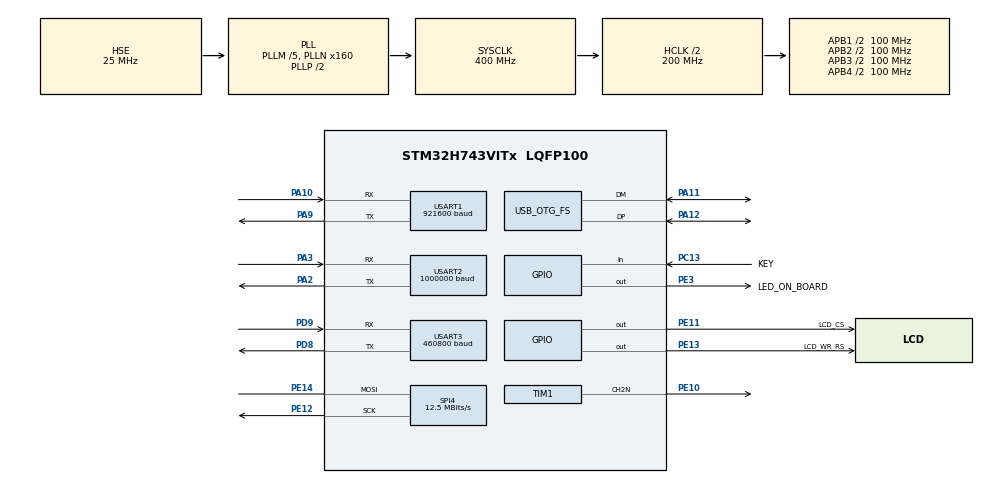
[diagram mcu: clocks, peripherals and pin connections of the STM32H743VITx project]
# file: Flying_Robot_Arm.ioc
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Dma.Request0=USART2_RX
Dma.Request1=USART2_TX
Dma.USART2_RX.0.Direction=DMA_PERIPH_TO_MEMORY
Dma.USART2_RX.0.EventEnable=DISABLE
Dma.USART2_RX.0.FIFOMode=DMA_FIFOMODE_DISABLE
Dma.USART2_RX.0.Instance=DMA1_Stream0
Dma.USART2_RX.0.MemDataAlignment=DMA_MDATAALIGN_BYTE
Dma.USART2_RX.0.MemInc=DMA_MINC_ENABLE
Dma.USART2_RX.0.Mode=DMA_NORMAL
Dma.USART2_RX.0.PeriphDataAlignment=DMA_PDATAALIGN_BYTE
Dma.USART2_RX.0.PeriphInc=DMA_PINC_DISABLE
Dma.USART2_RX.0.Polarity=HAL_DMAMUX_REQ_GEN_RISING
Dma.USART2_RX.0.Priority=DMA_PRIORITY_HIGH
Dma.USART2_RX.0.RequestNumber=1
Dma.USART2_RX.0.SignalID=NONE
Dma.USART2_RX.0.SyncEnable=DISABLE
Dma.USART2_RX.0.SyncPolarity=HAL_DMAMUX_SYNC_NO_EVENT
Dma.USART2_RX.0.SyncRequestNumber=1
Dma.USART2_RX.0.SyncSignalID=NONE
Dma.USART2_TX.1.Direction=DMA_MEMORY_TO_PERIPH
Dma.USART2_TX.1.EventEnable=DISABLE
Dma.USART2_TX.1.FIFOMode=DMA_FIFOMODE_DISABLE
Dma.USART2_TX.1.Instance=DMA1_Stream1
Dma.USART2_TX.1.MemDataAlignment=DMA_MDATAALIGN_BYTE
Dma.USART2_TX.1.MemInc=DMA_MINC_ENABLE
Dma.USART2_TX.1.Mode=DMA_NORMAL
Dma.USART2_TX.1.PeriphDataAlignment=DMA_PDATAALIGN_BYTE
Dma.USART2_TX.1.PeriphInc=DMA_PINC_DISABLE
Dma.USART2_TX.1.Polarity=HAL_DMAMUX_REQ_GEN_RISING
Dma.USART2_TX.1.Priority=DMA_PRIORITY_HIGH
Dma.USART2_TX.1.RequestNumber=1
Dma.USART2_TX.1.SignalID=NONE
Dma.USART2_TX.1.SyncEnable=DISABLE
Dma.USART2_TX.1.SyncPolarity=HAL_DMAMUX_SYNC_NO_EVENT
Dma.USART2_TX.1.SyncRequestNumber=1
Dma.USART2_TX.1.SyncSignalID=NONE
FREERTOS.Tasks01=defaultTask,0,256,StartDefaultTask,Default,NULL,Dynamic,NULL,NULL;screen_task,-2,512,lcd_show_task,As external,NULL,Dynamic,NULL,NULL;servo_task,1,256,servo_ctrl_task,As external,NULL,Dynamic,NULL,NULL
FREERTOS.configUSE_TRACE_FACILITY=1
Mcu.Family=STM32H7
Mcu.Name=STM32H743VITx
Mcu.Package=LQFP100
NVIC.DMA1_Stream0_IRQn=true\:5\:0\:false\:false\:true\:true\:false\:true
NVIC.DMA1_Stream1_IRQn=true\:5\:0\:false\:false\:true\:true\:false\:true
NVIC.OTG_FS_IRQn=true\:5\:0\:false\:false\:true\:true\:false\:true
NVIC.PriorityGroup=NVIC_PRIORITYGROUP_4
NVIC.TIM2_IRQn=true\:15\:0\:false\:false\:true\:false\:false\:true
NVIC.TimeBase=TIM2_IRQn
NVIC.TimeBaseIP=TIM2
NVIC.USART1_IRQn=true\:5\:0\:false\:false\:false\:true\:true\:false
NVIC.USART2_IRQn=true\:5\:0\:false\:false\:false\:true\:true\:false
NVIC.USART3_IRQn=true\:5\:0\:false\:false\:false\:true\:true\:false
PA10.Mode=Asynchronous
PA10.Signal=USART1_RX
PA11.Mode=Device_Only
PA11.Signal=USB_OTG_FS_DM
PA12.Mode=Device_Only
PA12.Signal=USB_OTG_FS_DP
PA13\ (JTMS/SWDIO).Mode=Serial_Wire
PA13\ (JTMS/SWDIO).Signal=DEBUG_JTMS-SWDIO
PA14\ (JTCK/SWCLK).Mode=Serial_Wire
PA14\ (JTCK/SWCLK).Signal=DEBUG_JTCK-SWCLK
PA2.Mode=Asynchronous
PA2.Signal=USART2_TX
PA3.Mode=Asynchronous
PA3.Signal=USART2_RX
PA9.Mode=Asynchronous
PA9.Signal=USART1_TX
PC13.GPIO_Label=KEY
PC13.GPIO_PuPd=GPIO_PULLDOWN
PC13.Signal=GPIO_Input
PD8.Mode=Asynchronous
PD8.Signal=USART3_TX
PD9.Mode=Asynchronous
PD9.Signal=USART3_RX
PE10.GPIO_PuPd=GPIO_NOPULL
PE10.Mode=PWM Generation2 CH2N
PE10.Signal=TIM1_CH2N
PE11.GPIO_Label=LCD_CS
PE11.GPIO_Speed=GPIO_SPEED_FREQ_HIGH
PE11.PinState=GPIO_PIN_SET
PE11.Signal=GPIO_Output
PE12.Mode=Simplex_Bidirectional_Master
PE12.Signal=SPI4_SCK
PE13.GPIO_Label=LCD_WR_RS
PE13.GPIO_Speed=GPIO_SPEED_FREQ_HIGH
PE13.PinState=GPIO_PIN_SET
PE13.Signal=GPIO_Output
PE14.Mode=Simplex_Bidirectional_Master
PE14.Signal=SPI4_MOSI
PE3.GPIO_Label=LED_ON_BOARD
PE3.Signal=GPIO_Output
PH0-OSC_IN\ (PH0).Mode=HSE-External-Oscillator
PH0-OSC_IN\ (PH0).Signal=RCC_OSC_IN
PH1-OSC_OUT\ (PH1).Mode=HSE-External-Oscillator
PH1-OSC_OUT\ (PH1).Signal=RCC_OSC_OUT
ProjectManager.HeapSize=0x600
ProjectManager.StackSize=0x800
ProjectManager.TargetToolchain=MDK-ARM V5.27
RCC.ADCFreq_Value=400000000
RCC.APB1Freq_Value=100000000
RCC.APB2Freq_Value=100000000
RCC.APB3Freq_Value=100000000
RCC.APB4Freq_Value=100000000
RCC.CortexFreq_Value=400000000
RCC.D1PPRE=RCC_APB3_DIV2
RCC.D2PPRE1=RCC_APB1_DIV2
RCC.D2PPRE2=RCC_APB2_DIV2
RCC.D3PPRE=RCC_APB4_DIV2
RCC.DIVM1=5
RCC.DIVM2=5
RCC.DIVM3=5
RCC.DIVN1=160
RCC.DIVN2=160
RCC.DIVN3=48
RCC.DIVQ3=5
RCC.HCLKFreq_Value=200000000
RCC.HPRE=RCC_HCLK_DIV2
RCC.PLLSourceVirtual=RCC_PLLSOURCE_HSE
RCC.SYSCLKFreq_VALUE=400000000
RCC.SYSCLKSource=RCC_SYSCLKSOURCE_PLLCLK
RCC.USBCLockSelection=RCC_USBCLKSOURCE_PLL3
RCC.USBFreq_Value=48000000
SPI4.BaudRatePrescaler=SPI_BAUDRATEPRESCALER_8
SPI4.CalculateBaudRate=12.5 MBits/s
SPI4.DataSize=SPI_DATASIZE_8BIT
SPI4.Direction=SPI_DIRECTION_1LINE
SPI4.Mode=SPI_MODE_MASTER
SPI4.VirtualType=VM_MASTER
TIM1.AutoReloadPreload=TIM_AUTORELOAD_PRELOAD_ENABLE
TIM1.Channel-PWM\ Generation2\ CH2N=TIM_CHANNEL_2
TIM1.OCNPolarity_2=TIM_OCNPOLARITY_HIGH
TIM1.Period=1000-1
TIM1.Prescaler=20-1
USART1.BaudRate=921600
USART1.VirtualMode-Asynchronous=VM_ASYNC
USART2.BaudRate=1000000
USART2.VirtualMode-Asynchronous=VM_ASYNC
USART3.BaudRate=460800
USART3.VirtualMode-Asynchronous=VM_ASYNC
USB_DEVICE.CLASS_NAME_FS=CDC
USB_DEVICE.VirtualMode-CDC_FS=Cdc
USB_DEVICE.VirtualModeFS=Cdc_FS
USB_OTG_FS.VirtualMode=Device_Only
VP_FREERTOS_VS_CMSIS_V1.Mode=CMSIS_V1
VP_SYS_VS_tim2.Mode=TIM2
VP_USB_DEVICE_VS_USB_DEVICE_CDC_FS.Mode=CDC_FS
board=custom

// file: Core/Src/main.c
/* USER CODE BEGIN Header */
/**
  ******************************************************************************
  * @file           : main.c
  * @brief          : Main program body
  ******************************************************************************
  * @attention
  *
  * <h2><center>&copy; Copyright (c) 2021 STMicroelectronics.
  * All rights reserved.</center></h2>
  *
  * This software component is licensed by ST under Ultimate Liberty license
  * SLA0044, the "License"; You may not use this file except in compliance with
  * the License. You may obtain a copy of the License at:
  *                             www.st.com/SLA0044
  *
  ******************************************************************************
  */
/* USER CODE END Header */
#include "main.h"
#include "cmsis_os.h"
#include "dma.h"
#include "spi.h"
#include "tim.h"
#include "usart.h"
#include "usb_device.h"
#include "gpio.h"

/* USER CODE BEGIN Includes */
#include "servo_uart.h"
/* USER CODE END Includes */

void SystemClock_Config(void);
void MX_FREERTOS_Init(void);

int main(void)
{

  /* MCU Configuration--------------------------------------------------------*/

  /* Reset of all peripherals, Initializes the Flash interface and the Systick. */
  HAL_Init();

  /* Configure the system clock */
  SystemClock_Config();

  /* Initialize all configured peripherals */
  MX_GPIO_Init();
  MX_TIM1_Init();
  MX_SPI4_Init();
  MX_DMA_Init();
  MX_USART2_UART_Init();
  MX_USART1_UART_Init();
  MX_USART3_UART_Init();
  /* USER CODE BEGIN 2 */
  HAL_TIM_PWM_Start(&htim1, TIM_CHANNEL_2);
  __HAL_TIM_SetCompare(&htim1, TIM_CHANNEL_2, 0);
  servo_receive_init();
  /* USER CODE END 2 */

  /* Call init function for freertos objects (in freertos.c) */
  MX_FREERTOS_Init();
  /* Start scheduler */
  osKernelStart();

  /* We should never get here as control is now taken by the scheduler */
  /* Infinite loop */
  while (1)
  {

  }
}

void SystemClock_Config(void)
{
  RCC_OscInitTypeDef RCC_OscInitStruct = {0};
  RCC_ClkInitTypeDef RCC_ClkInitStruct = {0};

  /** Supply configuration update enable
  */
  HAL_PWREx_ConfigSupply(PWR_LDO_SUPPLY);
  /** Configure the main internal regulator output voltage
  */
  __HAL_PWR_VOLTAGESCALING_CONFIG(PWR_REGULATOR_VOLTAGE_SCALE1);

  while(!__HAL_PWR_GET_FLAG(PWR_FLAG_VOSRDY)) {}
  /** Macro to configure the PLL clock source
  */
  __HAL_RCC_PLL_PLLSOURCE_CONFIG(RCC_PLLSOURCE_HSE);
  /** Initializes the RCC Oscillators according to the specified parameters
  * in the RCC_OscInitTypeDef structure.
  */
  RCC_OscInitStruct.OscillatorType = RCC_OSCILLATORTYPE_HSE;
  RCC_OscInitStruct.HSEState = RCC_HSE_ON;
  RCC_OscInitStruct.PLL.PLLState = RCC_PLL_ON;
  RCC_OscInitStruct.PLL.PLLSource = RCC_PLLSOURCE_HSE;
  RCC_OscInitStruct.PLL.PLLM = 5;
  RCC_OscInitStruct.PLL.PLLN = 160;
  RCC_OscInitStruct.PLL.PLLP = 2;
  RCC_OscInitStruct.PLL.PLLQ = 2;
  RCC_OscInitStruct.PLL.PLLR = 2;
  RCC_OscInitStruct.PLL.PLLRGE = RCC_PLL1VCIRANGE_2;
  RCC_OscInitStruct.PLL.PLLVCOSEL = RCC_PLL1VCOWIDE;
  RCC_OscInitStruct.PLL.PLLFRACN = 0;
  if (HAL_RCC_OscConfig(&RCC_OscInitStruct) != HAL_OK)
  {
    Error_Handler();
  }
  /** Initializes the CPU, AHB and APB buses clocks
  */
  RCC_ClkInitStruct.ClockType = RCC_CLOCKTYPE_HCLK|RCC_CLOCKTYPE_SYSCLK
                              |RCC_CLOCKTYPE_PCLK1|RCC_CLOCKTYPE_PCLK2
                              |RCC_CLOCKTYPE_D3PCLK1|RCC_CLOCKTYPE_D1PCLK1;
  RCC_ClkInitStruct.SYSCLKSource = RCC_SYSCLKSOURCE_PLLCLK;
  RCC_ClkInitStruct.SYSCLKDivider = RCC_SYSCLK_DIV1;
  RCC_ClkInitStruct.AHBCLKDivider = RCC_HCLK_DIV2;
  RCC_ClkInitStruct.APB3CLKDivider = RCC_APB3_DIV2;
  RCC_ClkInitStruct.APB1CLKDivider = RCC_APB1_DIV2;
  RCC_ClkInitStruct.APB2CLKDivider = RCC_APB2_DIV2;
  RCC_ClkInitStruct.APB4CLKDivider = RCC_APB4_DIV2;

  if (HAL_RCC_ClockConfig(&RCC_ClkInitStruct, FLASH_LATENCY_2) != HAL_OK)
  {
    Error_Handler();
  }
}

void HAL_TIM_PeriodElapsedCallback(TIM_HandleTypeDef *htim)
{
  if (htim->Instance == TIM2) {
    HAL_IncTick();
  }
}

void Error_Handler(void)
{
  __disable_irq();
  while (1)
  {
  }
}

/************************ (C) COPYRIGHT STMicroelectronics *****END OF FILE****/

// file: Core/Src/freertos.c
/* USER CODE BEGIN Header */
/**
  ******************************************************************************
  * File Name          : freertos.c
  * Description        : Code for freertos applications
  ******************************************************************************
  * @attention
  *
  * <h2><center>&copy; Copyright (c) 2021 STMicroelectronics.
  * All rights reserved.</center></h2>
  *
  * This software component is licensed by ST under Ultimate Liberty license
  * SLA0044, the "License"; You may not use this file except in compliance with
  * the License. You may obtain a copy of the License at:
  *                             www.st.com/SLA0044
  *
  ******************************************************************************
  */
/* USER CODE END Header */

#include "FreeRTOS.h"
#include "task.h"
#include "main.h"
#include "cmsis_os.h"

/* USER CODE BEGIN Includes */
#include "usb_uart.h"
#include "my_time.h"

/* USER CODE END Includes */

osThreadId defaultTaskHandle;
osThreadId screen_taskHandle;
osThreadId servo_taskHandle;

/* USER CODE BEGIN FunctionPrototypes */
extern void userShellInit(void);

/* USER CODE END FunctionPrototypes */

void StartDefaultTask(void const * argument);
extern void lcd_show_task(void const * argument);
extern void servo_ctrl_task(void const * argument);

extern void MX_USB_DEVICE_Init(void);
void MX_FREERTOS_Init(void); /* (MISRA C 2004 rule 8.1) */

/* GetIdleTaskMemory prototype (linked to static allocation support) */
void vApplicationGetIdleTaskMemory( StaticTask_t **ppxIdleTaskTCBBuffer, StackType_t **ppxIdleTaskStackBuffer, uint32_t *pulIdleTaskStackSize );

/* USER CODE BEGIN GET_IDLE_TASK_MEMORY */
static StaticTask_t xIdleTaskTCBBuffer;
static StackType_t xIdleStack[configMINIMAL_STACK_SIZE];

void vApplicationGetIdleTaskMemory( StaticTask_t **ppxIdleTaskTCBBuffer, StackType_t **ppxIdleTaskStackBuffer, uint32_t *pulIdleTaskStackSize )
{
  *ppxIdleTaskTCBBuffer = &xIdleTaskTCBBuffer;
  *ppxIdleTaskStackBuffer = &xIdleStack[0];
  *pulIdleTaskStackSize = configMINIMAL_STACK_SIZE;
  /* place for user code */
}
/* USER CODE END GET_IDLE_TASK_MEMORY */

void MX_FREERTOS_Init(void) {

  /* Create the thread(s) */
  /* definition and creation of defaultTask */
  osThreadDef(defaultTask, StartDefaultTask, osPriorityNormal, 0, 256);
  defaultTaskHandle = osThreadCreate(osThread(defaultTask), NULL);

  /* definition and creation of screen_task */
  osThreadDef(screen_task, lcd_show_task, osPriorityLow, 0, 512);
  screen_taskHandle = osThreadCreate(osThread(screen_task), NULL);

  /* definition and creation of servo_task */
  osThreadDef(servo_task, servo_ctrl_task, osPriorityAboveNormal, 0, 256);
  servo_taskHandle = osThreadCreate(osThread(servo_task), NULL);

}

void StartDefaultTask(void const * argument)
{
  /* init code for USB_DEVICE */
  MX_USB_DEVICE_Init();
  /* USER CODE BEGIN StartDefaultTask */
    struct Time_Object time_test;

    userShellInit();

  /* Infinite loop */
  for(;;)
  {
	  HAL_GPIO_WritePin(LED_ON_BOARD_GPIO_Port, LED_ON_BOARD_Pin, GPIO_PIN_SET);
      get_time_period(&time_test);
      //usb_printf("now: %f  dt: %f  longteststringcnx23uibffrw3kolq874fhbuo3wlugb\r\n", time_test.Now_Time, time_test.Time_Delta);
	  osDelay(500);

	  HAL_GPIO_WritePin(LED_ON_BOARD_GPIO_Port, LED_ON_BOARD_Pin, GPIO_PIN_RESET);
      get_time_period(&time_test);
      //usb_printf("now: %f  dt: %f  longteststringwweiucnq93o84fhpq9ufvb98u3bcnsd\r\n", time_test.Now_Time, time_test.Time_Delta);
	  osDelay(500);
  }
  /* USER CODE END StartDefaultTask */
}

/************************ (C) COPYRIGHT STMicroelectronics *****END OF FILE****/
